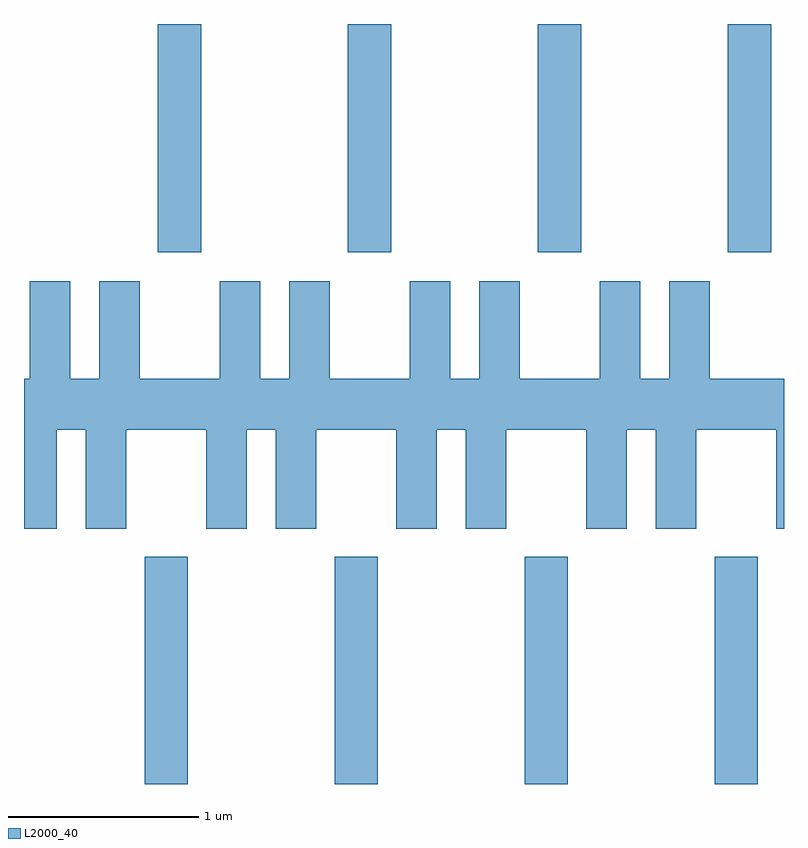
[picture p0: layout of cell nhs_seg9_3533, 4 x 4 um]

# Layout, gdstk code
import gdstk
lib = gdstk.Library(unit=1e-6, precision=1e-09)
def R(c, l, rs):  # rectangles x0, y0, x1, y1
    for r in rs: c.add(gdstk.rectangle(r[:2], r[2:], *l))
def A(c, l, x, y, w, h, nx, ny, dx, dy):  # array of equal rectangles
    R(c, l, [(x+i*dx, y+j*dy, x+i*dx+w, y+j*dy+h) for i in range(nx) for j in range(ny)])
def P(c, l, *ps):  # polygons
    for p in ps: c.add(gdstk.Polygon(p, *l))
L2000_40 = (2000, 40)

nhs_seg9_3533 = lib.new_cell('nhs_seg9_3533')
A(nhs_seg9_3533, L2000_40, 290.246, 1954.432, 0.228, 1.197, 4, 1, 1, 0)
A(nhs_seg9_3533, L2000_40, 290.316, 1957.231, 0.228, 1.201, 4, 1, 1, 0)
P(nhs_seg9_3533, L2000_40, [(289.784,1956.296),(289.936,1956.296),(289.936,1955.776),(290.149,1955.776),(290.149,1956.296),(290.571,1956.296),(290.571,1955.776),(290.784,1955.776),(290.784,1956.296),(290.936,1956.296),(290.936,1955.776),(291.149,1955.776),(291.149,1956.296),(291.571,1956.296),(291.571,1955.776),(291.784,1955.776),(291.784,1956.296),(291.936,1956.296),(291.936,1955.776),(292.149,1955.776),(292.149,1956.296),(292.571,1956.296),(292.571,1955.776),(292.784,1955.776),(292.784,1956.296),(292.936,1956.296),(292.936,1955.776),(293.149,1955.776),(293.149,1956.296),(293.571,1956.296),(293.571,1955.776),(293.611,1955.776),(293.611,1956.564),(293.219,1956.564),(293.219,1957.079),(293.006,1957.079),(293.006,1956.564),(292.854,1956.564),(292.854,1957.079),(292.641,1957.079),(292.641,1956.564),(292.219,1956.564),(292.219,1957.079),(292.006,1957.079),(292.006,1956.564),(291.854,1956.564),(291.854,1957.079),(291.641,1957.079),(291.641,1956.564),(291.219,1956.564),(291.219,1957.079),(291.006,1957.079),(291.006,1956.564),(290.854,1956.564),(290.854,1957.079),(290.641,1957.079),(290.641,1956.564),(290.219,1956.564),(290.219,1957.079),(290.006,1957.079),(290.006,1956.564),(289.854,1956.564),(289.854,1957.079),(289.641,1957.079),(289.641,1956.564),(289.611,1956.564),(289.611,1955.776),(289.784,1955.776)])

lib.write_gds('nhs_seg9_3533.gds')
